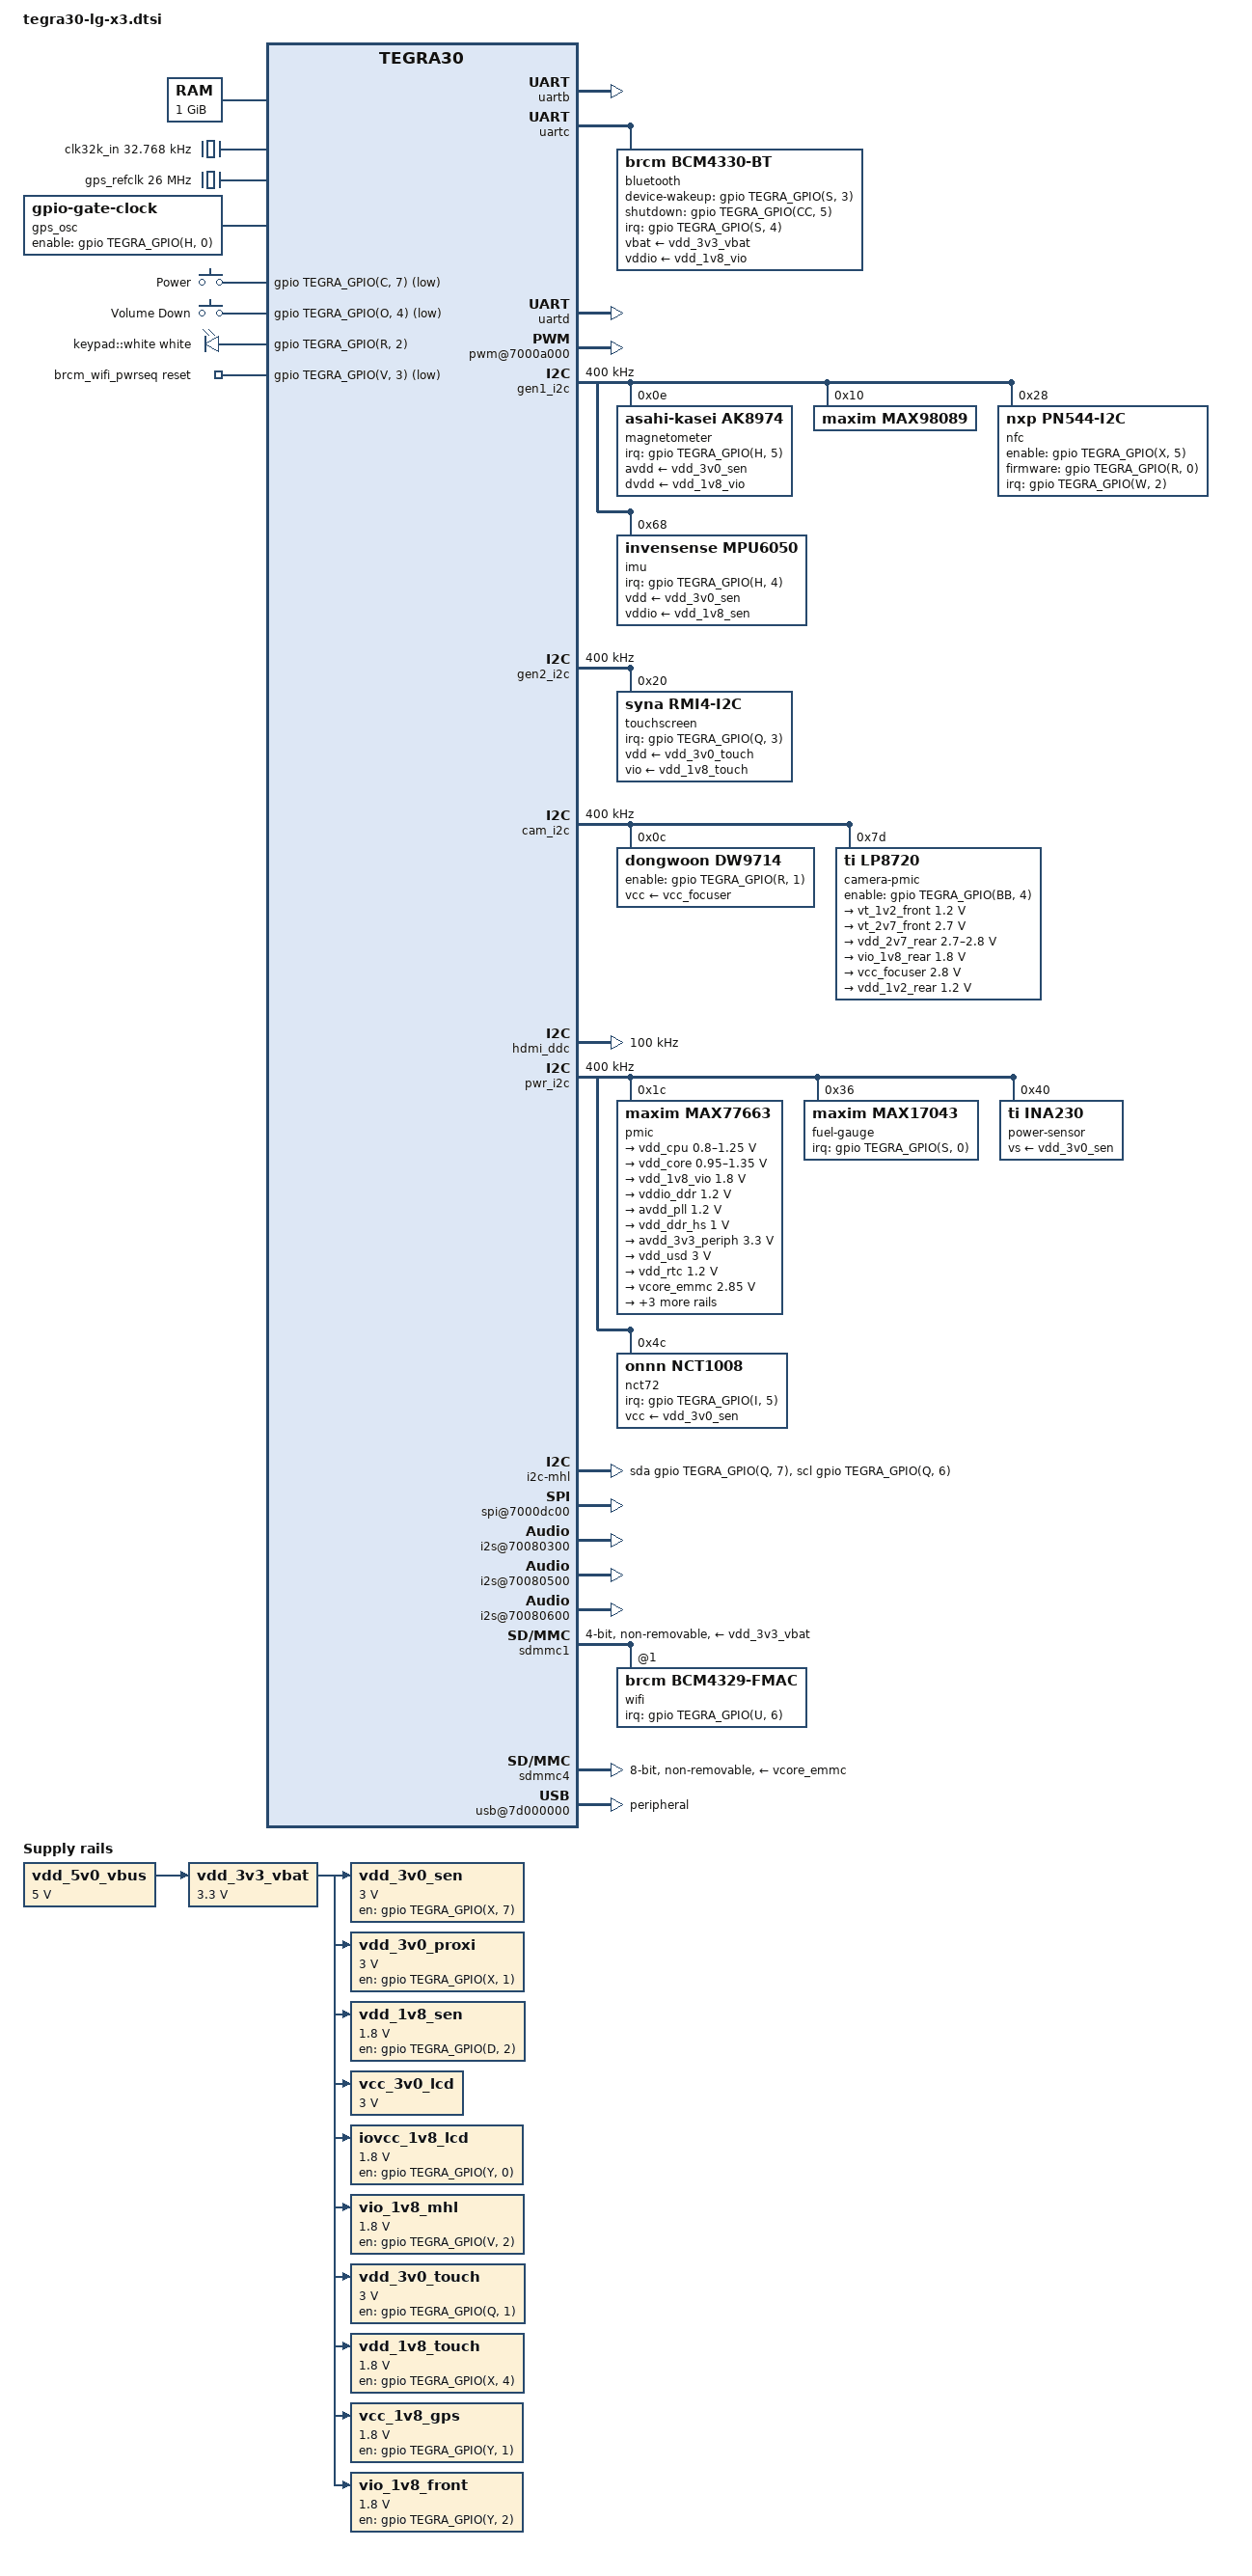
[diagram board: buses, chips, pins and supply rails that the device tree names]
// SPDX-License-Identifier: GPL-2.0

#include <dt-bindings/input/gpio-keys.h>
#include <dt-bindings/input/input.h>
#include <dt-bindings/leds/common.h>
#include <dt-bindings/mfd/max77620.h>
#include <dt-bindings/thermal/thermal.h>

#include "tegra30.dtsi"
#include "tegra30-cpu-opp.dtsi"
#include "tegra30-cpu-opp-microvolt.dtsi"

/ {
	chassis-type = "handset";

	aliases {
		mmc0 = &sdmmc4; /* eMMC */
		mmc1 = &sdmmc1; /* WiFi */

		rtc0 = &pmic;
		rtc1 = "/rtc@7000e000";

		serial0 = &uartd; /* Console */
		serial1 = &uartc; /* Bluetooth */
		serial2 = &uartb; /* GPS */
	};

	/*
	 * The decompressor and also some bootloaders rely on a
	 * pre-existing /chosen node to be available to insert the
	 * command line and merge other ATAGS info.
	 */
	chosen { };

	firmware {
		trusted-foundations {
			compatible = "tlm,trusted-foundations";
			tlm,version-major = <2>;
			tlm,version-minor = <8>;
		};
	};

	memory@80000000 {
		reg = <0x80000000 0x40000000>;
	};

	reserved-memory {
		#address-cells = <1>;
		#size-cells = <1>;
		ranges;

		linux,cma@80000000 {
			compatible = "shared-dma-pool";
			alloc-ranges = <0x80000000 0x30000000>;
			size = <0x10000000>;		/* 256MiB */
			linux,cma-default;
			reusable;
		};

		ramoops@bed00000 {
			compatible = "ramoops";
			reg = <0xbed00000 0x10000>;	/* 64kB */
			console-size = <0x8000>;	/* 32kB */
			record-size = <0x400>;		/* 1kB */
			ecc-size = <16>;
		};

		trustzone@bfe00000 {
			reg = <0xbfe00000 0x200000>;	/* 2MB */
			no-map;
		};
	};

	vde@6001a000 {
		assigned-clocks = <&tegra_car TEGRA30_CLK_VDE>;
		assigned-clock-parents = <&tegra_car TEGRA30_CLK_PLL_P>;
		assigned-clock-rates = <408000000>;
	};

	pinmux@70000868 {
		pinctrl-names = "default";
		pinctrl-0 = <&state_default>;

		state_default: pinmux {
			/* WLAN SDIO pinmux */
			sdmmc1-clk {
				nvidia,pins = "sdmmc1_clk_pz0";
				nvidia,function = "sdmmc1";
				nvidia,pull = <TEGRA_PIN_PULL_NONE>;
				nvidia,tristate = <TEGRA_PIN_DISABLE>;
				nvidia,enable-input = <TEGRA_PIN_ENABLE>;
			};
			sdmmc1-cmd {
				nvidia,pins = "sdmmc1_cmd_pz1",
						"sdmmc1_dat3_py4",
						"sdmmc1_dat2_py5",
						"sdmmc1_dat1_py6",
						"sdmmc1_dat0_py7";
				nvidia,function = "sdmmc1";
				nvidia,pull = <TEGRA_PIN_PULL_UP>;
				nvidia,tristate = <TEGRA_PIN_DISABLE>;
				nvidia,enable-input = <TEGRA_PIN_ENABLE>;
			};
			wlan-reset {
				nvidia,pins = "pv3";
				nvidia,function = "rsvd2";
				nvidia,pull = <TEGRA_PIN_PULL_NONE>;
				nvidia,tristate = <TEGRA_PIN_DISABLE>;
				nvidia,enable-input = <TEGRA_PIN_DISABLE>;
			};
			wlan-host-wake {
				nvidia,pins = "pu6";
				nvidia,function = "pwm3";
				nvidia,pull = <TEGRA_PIN_PULL_DOWN>;
				nvidia,tristate = <TEGRA_PIN_DISABLE>;
				nvidia,enable-input = <TEGRA_PIN_ENABLE>;
			};

			/* GNSS UART-B pinmux */
			gps-pwr-en {
				nvidia,pins = "kb_row6_pr6";
				nvidia,function = "kbc";
				nvidia,pull = <TEGRA_PIN_PULL_DOWN>;
				nvidia,tristate = <TEGRA_PIN_DISABLE>;
				nvidia,enable-input = <TEGRA_PIN_DISABLE>;
			};
			gps-ldo-en {
				nvidia,pins = "ulpi_dir_py1";
				nvidia,function = "rsvd2";
				nvidia,pull = <TEGRA_PIN_PULL_NONE>;
				nvidia,tristate = <TEGRA_PIN_DISABLE>;
				nvidia,enable-input = <TEGRA_PIN_DISABLE>;
			};
			gps-clk-ref {
				nvidia,pins = "gmi_ad8_ph0";
				nvidia,function = "gmi";
				nvidia,pull = <TEGRA_PIN_PULL_NONE>;
				nvidia,tristate = <TEGRA_PIN_DISABLE>;
				nvidia,enable-input = <TEGRA_PIN_DISABLE>;
			};

			/* Bluetooth UART-C pinmux */
			uartc-cts-rxd {
				nvidia,pins = "uart3_cts_n_pa1",
						"uart3_rxd_pw7";
				nvidia,function = "uartc";
				nvidia,pull = <TEGRA_PIN_PULL_NONE>;
				nvidia,tristate = <TEGRA_PIN_DISABLE>;
				nvidia,enable-input = <TEGRA_PIN_ENABLE>;
			};
			uartc-rts-txd {
				nvidia,pins = "uart3_rts_n_pc0",
						"uart3_txd_pw6";
				nvidia,function = "uartc";
				nvidia,pull = <TEGRA_PIN_PULL_NONE>;
				nvidia,tristate = <TEGRA_PIN_DISABLE>;
				nvidia,enable-input = <TEGRA_PIN_DISABLE>;
			};
			bt-reset {
				nvidia,pins = "clk2_req_pcc5";
				nvidia,function = "dap";
				nvidia,pull = <TEGRA_PIN_PULL_NONE>;
				nvidia,tristate = <TEGRA_PIN_DISABLE>;
				nvidia,enable-input = <TEGRA_PIN_DISABLE>;
			};
			bt-dev-wake {
				nvidia,pins = "kb_row11_ps3";
				nvidia,function = "kbc";
				nvidia,pull = <TEGRA_PIN_PULL_DOWN>;
				nvidia,tristate = <TEGRA_PIN_DISABLE>;
				nvidia,enable-input = <TEGRA_PIN_DISABLE>;
			};
			bt-host-wake {
				nvidia,pins = "kb_row12_ps4";
				nvidia,function = "kbc";
				nvidia,pull = <TEGRA_PIN_PULL_DOWN>;
				nvidia,tristate = <TEGRA_PIN_DISABLE>;
				nvidia,enable-input = <TEGRA_PIN_ENABLE>;
			};
			bt-pcm-dap4 {
				nvidia,pins = "dap4_fs_pp4",
						"dap4_din_pp5",
						"dap4_dout_pp6",
						"dap4_sclk_pp7";
				nvidia,function = "i2s3";
				nvidia,pull = <TEGRA_PIN_PULL_NONE>;
				nvidia,tristate = <TEGRA_PIN_DISABLE>;
				nvidia,enable-input = <TEGRA_PIN_ENABLE>;
			};

			/* EMMC pinmux */
			sdmmc4-clk {
				nvidia,pins = "sdmmc4_clk_pcc4";
				nvidia,function = "sdmmc4";
				nvidia,pull = <TEGRA_PIN_PULL_NONE>;
				nvidia,tristate = <TEGRA_PIN_DISABLE>;
				nvidia,enable-input = <TEGRA_PIN_ENABLE>;
			};
			sdmmc4-data {
				nvidia,pins = "sdmmc4_cmd_pt7",
						"sdmmc4_dat0_paa0",
						"sdmmc4_dat1_paa1",
						"sdmmc4_dat2_paa2",
						"sdmmc4_dat3_paa3",
						"sdmmc4_dat4_paa4",
						"sdmmc4_dat5_paa5",
						"sdmmc4_dat6_paa6",
						"sdmmc4_dat7_paa7";
				nvidia,function = "sdmmc4";
				nvidia,pull = <TEGRA_PIN_PULL_UP>;
				nvidia,tristate = <TEGRA_PIN_DISABLE>;
				nvidia,enable-input = <TEGRA_PIN_ENABLE>;
			};
			sdmmc4-reset {
				nvidia,pins = "sdmmc4_rst_n_pcc3";
				nvidia,function = "rsvd2";
				nvidia,pull = <TEGRA_PIN_PULL_DOWN>;
				nvidia,tristate = <TEGRA_PIN_DISABLE>;
				nvidia,enable-input = <TEGRA_PIN_ENABLE>;
			};

			/* I2C pinmux */
			gen1-i2c {
				nvidia,pins = "gen1_i2c_scl_pc4",
						"gen1_i2c_sda_pc5";
				nvidia,function = "i2c1";
				nvidia,pull = <TEGRA_PIN_PULL_NONE>;
				nvidia,tristate = <TEGRA_PIN_DISABLE>;
				nvidia,enable-input = <TEGRA_PIN_ENABLE>;
				nvidia,open-drain = <TEGRA_PIN_ENABLE>;
				nvidia,lock = <TEGRA_PIN_DISABLE>;
			};
			gen2-i2c {
				nvidia,pins = "gen2_i2c_scl_pt5",
						"gen2_i2c_sda_pt6";
				nvidia,function = "i2c2";
				nvidia,pull = <TEGRA_PIN_PULL_NONE>;
				nvidia,tristate = <TEGRA_PIN_DISABLE>;
				nvidia,enable-input = <TEGRA_PIN_ENABLE>;
				nvidia,open-drain = <TEGRA_PIN_ENABLE>;
				nvidia,lock = <TEGRA_PIN_DISABLE>;
			};
			cam-i2c {
				nvidia,pins = "cam_i2c_scl_pbb1",
						"cam_i2c_sda_pbb2";
				nvidia,function = "i2c3";
				nvidia,pull = <TEGRA_PIN_PULL_NONE>;
				nvidia,tristate = <TEGRA_PIN_DISABLE>;
				nvidia,enable-input = <TEGRA_PIN_ENABLE>;
				nvidia,open-drain = <TEGRA_PIN_ENABLE>;
				nvidia,lock = <TEGRA_PIN_DISABLE>;
			};
			ddc-i2c {
				nvidia,pins = "ddc_scl_pv4",
						"ddc_sda_pv5";
				nvidia,function = "i2c4";
				nvidia,pull = <TEGRA_PIN_PULL_NONE>;
				nvidia,tristate = <TEGRA_PIN_DISABLE>;
				nvidia,enable-input = <TEGRA_PIN_ENABLE>;
				nvidia,lock = <TEGRA_PIN_DISABLE>;
			};
			pwr-i2c {
				nvidia,pins = "pwr_i2c_scl_pz6",
						"pwr_i2c_sda_pz7";
				nvidia,function = "i2cpwr";
				nvidia,pull = <TEGRA_PIN_PULL_NONE>;
				nvidia,tristate = <TEGRA_PIN_DISABLE>;
				nvidia,enable-input = <TEGRA_PIN_ENABLE>;
				nvidia,open-drain = <TEGRA_PIN_ENABLE>;
				nvidia,lock = <TEGRA_PIN_DISABLE>;
			};
			mhl-i2c {
				nvidia,pins = "kb_col6_pq6",
						"kb_col7_pq7";
				nvidia,function = "kbc";
				nvidia,pull = <TEGRA_PIN_PULL_NONE>;
				nvidia,tristate = <TEGRA_PIN_DISABLE>;
				nvidia,enable-input = <TEGRA_PIN_ENABLE>;
			};

			/* GPIO keys pinmux */
			power-key {
				nvidia,pins = "gmi_wp_n_pc7";
				nvidia,function = "gmi";
				nvidia,pull = <TEGRA_PIN_PULL_UP>;
				nvidia,tristate = <TEGRA_PIN_DISABLE>;
				nvidia,enable-input = <TEGRA_PIN_ENABLE>;
			};
			volume-down {
				nvidia,pins = "ulpi_data3_po4";
				nvidia,function = "spi3";
				nvidia,pull = <TEGRA_PIN_PULL_UP>;
				nvidia,tristate = <TEGRA_PIN_DISABLE>;
				nvidia,enable-input = <TEGRA_PIN_ENABLE>;
			};

			/* Sensors pinmux */
			sen-vdd {
				nvidia,pins = "spi1_miso_px7";
				nvidia,function = "rsvd4";
				nvidia,pull = <TEGRA_PIN_PULL_NONE>;
				nvidia,tristate = <TEGRA_PIN_DISABLE>;
				nvidia,enable-input = <TEGRA_PIN_DISABLE>;
			};
			proxi-vdd {
				nvidia,pins = "spi2_miso_px1";
				nvidia,function = "gmi";
				nvidia,pull = <TEGRA_PIN_PULL_NONE>;
				nvidia,tristate = <TEGRA_PIN_DISABLE>;
				nvidia,enable-input = <TEGRA_PIN_DISABLE>;
			};
			sen-vio {
				nvidia,pins = "lcd_dc1_pd2";
				nvidia,function = "rsvd4";
				nvidia,pull = <TEGRA_PIN_PULL_NONE>;
				nvidia,tristate = <TEGRA_PIN_DISABLE>;
				nvidia,enable-input = <TEGRA_PIN_DISABLE>;
			};
			nct-irq {
				nvidia,pins = "gmi_iordy_pi5";
				nvidia,function = "rsvd1";
				nvidia,pull = <TEGRA_PIN_PULL_NONE>;
				nvidia,tristate = <TEGRA_PIN_DISABLE>;
				nvidia,enable-input = <TEGRA_PIN_ENABLE>;
			};
			bat-irq {
				nvidia,pins = "kb_row8_ps0";
				nvidia,function = "kbc";
				nvidia,pull = <TEGRA_PIN_PULL_UP>;
				nvidia,tristate = <TEGRA_PIN_DISABLE>;
				nvidia,enable-input = <TEGRA_PIN_ENABLE>;
			};
			charger-irq {
				nvidia,pins = "gmi_cs1_n_pj2";
				nvidia,function = "rsvd1";
				nvidia,pull = <TEGRA_PIN_PULL_UP>;
				nvidia,tristate = <TEGRA_PIN_DISABLE>;
				nvidia,enable-input = <TEGRA_PIN_ENABLE>;
			};
			mpu-irq {
				nvidia,pins = "gmi_ad12_ph4";
				nvidia,function = "rsvd1";
				nvidia,pull = <TEGRA_PIN_PULL_UP>;
				nvidia,tristate = <TEGRA_PIN_DISABLE>;
				nvidia,enable-input = <TEGRA_PIN_ENABLE>;
			};
			compass-irq {
				nvidia,pins = "gmi_ad13_ph5";
				nvidia,function = "rsvd1";
				nvidia,pull = <TEGRA_PIN_PULL_UP>;
				nvidia,tristate = <TEGRA_PIN_DISABLE>;
				nvidia,enable-input = <TEGRA_PIN_ENABLE>;
			};
			light-irq {
				nvidia,pins = "gmi_cs4_n_pk2";
				nvidia,function = "rsvd1";
				nvidia,pull = <TEGRA_PIN_PULL_UP>;
				nvidia,tristate = <TEGRA_PIN_DISABLE>;
				nvidia,enable-input = <TEGRA_PIN_ENABLE>;
			};

			/* LED pinmux */
			backlight-en {
				nvidia,pins = "lcd_dc0_pn6";
				nvidia,function = "rsvd3";
				nvidia,pull = <TEGRA_PIN_PULL_DOWN>;
				nvidia,tristate = <TEGRA_PIN_DISABLE>;
				nvidia,enable-input = <TEGRA_PIN_DISABLE>;
			};
			flash-led-en {
				nvidia,pins = "pbb3";
				nvidia,function = "vgp3";
				nvidia,pull = <TEGRA_PIN_PULL_NONE>;
				nvidia,tristate = <TEGRA_PIN_DISABLE>;
				nvidia,enable-input = <TEGRA_PIN_DISABLE>;
			};
			keypad-led {
				nvidia,pins = "kb_row2_pr2",
						"kb_row3_pr3";
				nvidia,function = "rsvd3";
				nvidia,pull = <TEGRA_PIN_PULL_DOWN>;
				nvidia,tristate = <TEGRA_PIN_DISABLE>;
				nvidia,enable-input = <TEGRA_PIN_DISABLE>;
			};

			/* NFC pinmux */
			nfc-irq {
				nvidia,pins = "spi2_cs1_n_pw2";
				nvidia,function = "spi2";
				nvidia,pull = <TEGRA_PIN_PULL_NONE>;
				nvidia,tristate = <TEGRA_PIN_DISABLE>;
				nvidia,enable-input = <TEGRA_PIN_ENABLE>;
			};
			nfc-ven {
				nvidia,pins = "spi1_sck_px5";
				nvidia,function = "spi1";
				nvidia,pull = <TEGRA_PIN_PULL_NONE>;
				nvidia,tristate = <TEGRA_PIN_DISABLE>;
				nvidia,enable-input = <TEGRA_PIN_DISABLE>;
			};
			nfc-firm {
				nvidia,pins = "kb_row0_pr0";
				nvidia,function = "rsvd4";
				nvidia,pull = <TEGRA_PIN_PULL_NONE>;
				nvidia,tristate = <TEGRA_PIN_DISABLE>;
				nvidia,enable-input = <TEGRA_PIN_DISABLE>;
			};

			/* DC pinmux */
			lcd-pwr {
				nvidia,pins = "lcd_pwr0_pb2",
						"lcd_pwr1_pc1";
				nvidia,function = "displaya";
				nvidia,pull = <TEGRA_PIN_PULL_NONE>;
				nvidia,tristate = <TEGRA_PIN_DISABLE>;
				nvidia,enable-input = <TEGRA_PIN_DISABLE>;
			};
			lcd-wr-n {
				nvidia,pins = "lcd_wr_n_pz3";
				nvidia,function = "displaya";
				nvidia,pull = <TEGRA_PIN_PULL_NONE>;
				nvidia,tristate = <TEGRA_PIN_DISABLE>;
				nvidia,enable-input = <TEGRA_PIN_ENABLE>;
			};
			lcd-id {
				nvidia,pins = "lcd_m1_pw1";
				nvidia,function = "displaya";
				nvidia,pull = <TEGRA_PIN_PULL_NONE>;
				nvidia,tristate = <TEGRA_PIN_ENABLE>;
				nvidia,enable-input = <TEGRA_PIN_DISABLE>;
			};
			lcd-pclk {
				nvidia,pins = "lcd_pclk_pb3",
						"lcd_de_pj1",
						"lcd_hsync_pj3",
						"lcd_vsync_pj4";
				nvidia,function = "displaya";
				nvidia,pull = <TEGRA_PIN_PULL_NONE>;
				nvidia,tristate = <TEGRA_PIN_DISABLE>;
				nvidia,enable-input = <TEGRA_PIN_ENABLE>;
			};
			lcd-rgb-blue {
				nvidia,pins = "lcd_d0_pe0",
						"lcd_d1_pe1",
						"lcd_d2_pe2",
						"lcd_d3_pe3",
						"lcd_d4_pe4",
						"lcd_d5_pe5",
						"lcd_d18_pm2",
						"lcd_d19_pm3";
				nvidia,function = "displaya";
				nvidia,pull = <TEGRA_PIN_PULL_NONE>;
				nvidia,tristate = <TEGRA_PIN_DISABLE>;
				nvidia,enable-input = <TEGRA_PIN_ENABLE>;
			};
			lcd-rgb-green {
				nvidia,pins = "lcd_d6_pe6",
						"lcd_d7_pe7",
						"lcd_d8_pf0",
						"lcd_d9_pf1",
						"lcd_d10_pf2",
						"lcd_d11_pf3",
						"lcd_d20_pm4",
						"lcd_d21_pm5";
				nvidia,function = "displaya";
				nvidia,pull = <TEGRA_PIN_PULL_NONE>;
				nvidia,tristate = <TEGRA_PIN_DISABLE>;
				nvidia,enable-input = <TEGRA_PIN_ENABLE>;
			};
			lcd-rgb-red {
				nvidia,pins = "lcd_d12_pf4",
						"lcd_d13_pf5",
						"lcd_d14_pf6",
						"lcd_d15_pf7",
						"lcd_d16_pm0",
						"lcd_d17_pm1",
						"lcd_d22_pm6",
						"lcd_d23_pm7";
				nvidia,function = "displaya";
				nvidia,pull = <TEGRA_PIN_PULL_NONE>;
				nvidia,tristate = <TEGRA_PIN_DISABLE>;
				nvidia,enable-input = <TEGRA_PIN_ENABLE>;
			};

			/* Bridge pinmux */
			bridge-reset {
				nvidia,pins = "ulpi_data1_po2";
				nvidia,function = "spi3";
				nvidia,pull = <TEGRA_PIN_PULL_UP>;
				nvidia,tristate = <TEGRA_PIN_DISABLE>;
				nvidia,enable-input = <TEGRA_PIN_DISABLE>;
			};
			rgb-ic-en {
				nvidia,pins = "gmi_a18_pb1";
				nvidia,function = "uartd";
				nvidia,pull = <TEGRA_PIN_PULL_DOWN>;
				nvidia,tristate = <TEGRA_PIN_DISABLE>;
				nvidia,enable-input = <TEGRA_PIN_DISABLE>;
			};
			bridge-clk {
				nvidia,pins = "clk3_out_pee0";
				nvidia,function = "extperiph3";
				nvidia,pull = <TEGRA_PIN_PULL_NONE>;
				nvidia,tristate = <TEGRA_PIN_DISABLE>;
				nvidia,enable-input = <TEGRA_PIN_ENABLE>;
			};
			rgb-bridge {
				nvidia,pins = "lcd_sdin_pz2",
						"lcd_sdout_pn5",
						"lcd_cs0_n_pn4",
						"lcd_sck_pz4";
				nvidia,function = "spi5";
				nvidia,pull = <TEGRA_PIN_PULL_NONE>;
				nvidia,tristate = <TEGRA_PIN_DISABLE>;
				nvidia,enable-input = <TEGRA_PIN_ENABLE>;
			};

			/* Panel pinmux */
			panel-reset {
				nvidia,pins = "lcd_cs1_n_pw0";
				nvidia,function = "rsvd4";
				nvidia,pull = <TEGRA_PIN_PULL_UP>;
				nvidia,tristate = <TEGRA_PIN_DISABLE>;
				nvidia,enable-input = <TEGRA_PIN_DISABLE>;
			};
			panel-vio {
				nvidia,pins = "ulpi_clk_py0";
				nvidia,function = "rsvd2";
				nvidia,pull = <TEGRA_PIN_PULL_DOWN>;
				nvidia,tristate = <TEGRA_PIN_DISABLE>;
				nvidia,enable-input = <TEGRA_PIN_DISABLE>;
			};

			/* Touchscreen pinmux */
			touch-vdd {
				nvidia,pins = "kb_col1_pq1";
				nvidia,function = "kbc";
				nvidia,pull = <TEGRA_PIN_PULL_NONE>;
				nvidia,tristate = <TEGRA_PIN_DISABLE>;
				nvidia,enable-input = <TEGRA_PIN_DISABLE>;
			};
			touch-vio {
				nvidia,pins = "spi1_mosi_px4";
				nvidia,function = "spi2";
				nvidia,pull = <TEGRA_PIN_PULL_NONE>;
				nvidia,tristate = <TEGRA_PIN_DISABLE>;
				nvidia,enable-input = <TEGRA_PIN_DISABLE>;
			};
			touch-irq-n {
				nvidia,pins = "kb_col3_pq3";
				nvidia,function = "kbc";
				nvidia,pull = <TEGRA_PIN_PULL_NONE>;
				nvidia,tristate = <TEGRA_PIN_DISABLE>;
				nvidia,enable-input = <TEGRA_PIN_ENABLE>;
			};
			touch-rst-n {
				nvidia,pins = "ulpi_data0_po1";
				nvidia,function = "spi3";
				nvidia,pull = <TEGRA_PIN_PULL_UP>;
				nvidia,tristate = <TEGRA_PIN_ENABLE>;
				nvidia,enable-input = <TEGRA_PIN_DISABLE>;
			};
			touch-maker-id {
				nvidia,pins = "kb_col2_pq2";
				nvidia,function = "kbc";
				nvidia,pull = <TEGRA_PIN_PULL_UP>;
				nvidia,tristate = <TEGRA_PIN_DISABLE>;
				nvidia,enable-input = <TEGRA_PIN_ENABLE>;
			};

			/* MHL pinmux */
			mhl-vio {
				nvidia,pins = "pv2";
				nvidia,function = "owr";
				nvidia,pull = <TEGRA_PIN_PULL_NONE>;
				nvidia,tristate = <TEGRA_PIN_DISABLE>;
				nvidia,enable-input = <TEGRA_PIN_DISABLE>;
			};
			mhl-rst-n {
				nvidia,pins = "clk3_req_pee1";
				nvidia,function = "dev3";
				nvidia,pull = <TEGRA_PIN_PULL_UP>;
				nvidia,tristate = <TEGRA_PIN_DISABLE>;
				nvidia,enable-input = <TEGRA_PIN_DISABLE>;
			};
			mhl-irq {
				nvidia,pins = "crt_vsync_pv7";
				nvidia,function = "rsvd2";
				nvidia,pull = <TEGRA_PIN_PULL_NONE>;
				nvidia,tristate = <TEGRA_PIN_DISABLE>;
				nvidia,enable-input = <TEGRA_PIN_ENABLE>;
			};
			mhl-sel {
				nvidia,pins = "kb_row10_ps2";
				nvidia,function = "kbc";
				nvidia,pull = <TEGRA_PIN_PULL_DOWN>;
				nvidia,tristate = <TEGRA_PIN_DISABLE>;
				nvidia,enable-input = <TEGRA_PIN_DISABLE>;
			};
			hdmi-hpd {
				nvidia,pins = "hdmi_int_pn7";
				nvidia,function = "hdmi";
				nvidia,pull = <TEGRA_PIN_PULL_NONE>;
				nvidia,tristate = <TEGRA_PIN_ENABLE>;
				nvidia,enable-input = <TEGRA_PIN_ENABLE>;
			};

			/* AUDIO pinmux */
			hp-detect {
				nvidia,pins = "pbb6";
				nvidia,function = "vgp6";
				nvidia,pull = <TEGRA_PIN_PULL_NONE>;
				nvidia,tristate = <TEGRA_PIN_DISABLE>;
				nvidia,enable-input = <TEGRA_PIN_ENABLE>;
			};
			hp-hook {
				nvidia,pins = "ulpi_data4_po5";
				nvidia,function = "ulpi";
				nvidia,pull = <TEGRA_PIN_PULL_DOWN>;
				nvidia,tristate = <TEGRA_PIN_DISABLE>;
				nvidia,enable-input = <TEGRA_PIN_ENABLE>;
			};
			ear-mic-en {
				nvidia,pins = "spi2_mosi_px0";
				nvidia,function = "spi2";
				nvidia,pull = <TEGRA_PIN_PULL_DOWN>;
				nvidia,tristate = <TEGRA_PIN_DISABLE>;
				nvidia,enable-input = <TEGRA_PIN_DISABLE>;
			};
			audio-irq {
				nvidia,pins = "spi2_cs2_n_pw3";
				nvidia,function = "spi3";
				nvidia,pull = <TEGRA_PIN_PULL_NONE>;
				nvidia,tristate = <TEGRA_PIN_DISABLE>;
				nvidia,enable-input = <TEGRA_PIN_ENABLE>;
			};
			audio-mclk {
				nvidia,pins = "clk1_out_pw4";
				nvidia,function = "extperiph1";
				nvidia,pull = <TEGRA_PIN_PULL_DOWN>;
				nvidia,tristate = <TEGRA_PIN_DISABLE>;
				nvidia,enable-input = <TEGRA_PIN_ENABLE>;
			};
			dap-i2s0 {
				nvidia,pins = "dap1_fs_pn0",
						"dap1_din_pn1",
						"dap1_dout_pn2",
						"dap1_sclk_pn3";
				nvidia,function = "i2s0";
				nvidia,pull = <TEGRA_PIN_PULL_NONE>;
				nvidia,tristate = <TEGRA_PIN_DISABLE>;
				nvidia,enable-input = <TEGRA_PIN_ENABLE>;
			};
			dap-i2s1 {
				nvidia,pins = "dap2_fs_pa2",
						"dap2_sclk_pa3",
						"dap2_din_pa4",
						"dap2_dout_pa5";
				nvidia,function = "i2s1";
				nvidia,pull = <TEGRA_PIN_PULL_NONE>;
				nvidia,tristate = <TEGRA_PIN_DISABLE>;
				nvidia,enable-input = <TEGRA_PIN_ENABLE>;
			};

			/* MUIC pinmux */
			muic-irq {
				nvidia,pins = "gmi_cs0_n_pj0";
				nvidia,function = "gmi";
				nvidia,pull = <TEGRA_PIN_PULL_UP>;
				nvidia,tristate = <TEGRA_PIN_DISABLE>;
				nvidia,enable-input = <TEGRA_PIN_ENABLE>;
			};
			muic-dp2t {
				nvidia,pins = "pcc2";
				nvidia,function = "rsvd2";
				nvidia,pull = <TEGRA_PIN_PULL_NONE>;
				nvidia,tristate = <TEGRA_PIN_DISABLE>;
				nvidia,enable-input = <TEGRA_PIN_DISABLE>;
			};
			muic-usif {
				nvidia,pins = "ulpi_stp_py3";
				nvidia,function = "spi1";
				nvidia,pull = <TEGRA_PIN_PULL_NONE>;
				nvidia,tristate = <TEGRA_PIN_DISABLE>;
				nvidia,enable-input = <TEGRA_PIN_DISABLE>;
			};
			ifx-usb-vbus-en {
				nvidia,pins = "kb_row4_pr4";
				nvidia,function = "rsvd4";
				nvidia,pull = <TEGRA_PIN_PULL_DOWN>;
				nvidia,tristate = <TEGRA_PIN_DISABLE>;
				nvidia,enable-input = <TEGRA_PIN_DISABLE>;
			};
			pcb-rev {
				nvidia,pins = "gmi_wait_pi7",
						"gmi_rst_n_pi4";
				nvidia,function = "gmi";
				nvidia,pull = <TEGRA_PIN_PULL_UP>;
				nvidia,tristate = <TEGRA_PIN_DISABLE>;
				nvidia,enable-input = <TEGRA_PIN_ENABLE>;
			};
			jtag-rtck {
				nvidia,pins = "jtag_rtck_pu7";
				nvidia,function = "rtck";
				nvidia,pull = <TEGRA_PIN_PULL_NONE>;
				nvidia,tristate = <TEGRA_PIN_DISABLE>;
				nvidia,enable-input = <TEGRA_PIN_DISABLE>;
			};

			/* Camera pinmux */
			cam-mclk {
				nvidia,pins = "cam_mclk_pcc0";
				nvidia,function = "vi_alt3";
				nvidia,pull = <TEGRA_PIN_PULL_UP>;
				nvidia,tristate = <TEGRA_PIN_DISABLE>;
				nvidia,enable-input = <TEGRA_PIN_ENABLE>;
			};
			cam-pmic-en {
				nvidia,pins = "pbb4";
				nvidia,function = "vgp4";
				nvidia,pull = <TEGRA_PIN_PULL_NONE>;
				nvidia,tristate = <TEGRA_PIN_DISABLE>;
				nvidia,enable-input = <TEGRA_PIN_DISABLE>;
			};
			front-cam-rst {
				nvidia,pins = "pbb5";
				nvidia,function = "vgp5";
				nvidia,pull = <TEGRA_PIN_PULL_NONE>;
				nvidia,tristate = <TEGRA_PIN_DISABLE>;
				nvidia,enable-input = <TEGRA_PIN_DISABLE>;
			};
			front-cam-vio {
				nvidia,pins = "ulpi_nxt_py2";
				nvidia,function = "rsvd2";
				nvidia,pull = <TEGRA_PIN_PULL_NONE>;
				nvidia,tristate = <TEGRA_PIN_DISABLE>;
				nvidia,enable-input = <TEGRA_PIN_DISABLE>;
			};
			rear-cam-rst {
				nvidia,pins = "gmi_cs3_n_pk4";
				nvidia,function = "rsvd1";
				nvidia,pull = <TEGRA_PIN_PULL_NONE>;
				nvidia,tristate = <TEGRA_PIN_DISABLE>;
				nvidia,enable-input = <TEGRA_PIN_DISABLE>;
			};
			rear-cam-eprom-pr {
				nvidia,pins = "gmi_cs2_n_pk3";
				nvidia,function = "rsvd1";
				nvidia,pull = <TEGRA_PIN_PULL_NONE>;
				nvidia,tristate = <TEGRA_PIN_DISABLE>;
				nvidia,enable-input = <TEGRA_PIN_DISABLE>;
			};
			rear-cam-vcm-pwdn {
				nvidia,pins = "kb_row1_pr1";
				nvidia,function = "kbc";
				nvidia,pull = <TEGRA_PIN_PULL_UP>;
				nvidia,tristate = <TEGRA_PIN_DISABLE>;
				nvidia,enable-input = <TEGRA_PIN_ENABLE>;
			};

			/* Haptic pinmux */
			haptic-en {
				nvidia,pins = "gmi_ad9_ph1";
				nvidia,function = "gmi";
				nvidia,pull = <TEGRA_PIN_PULL_DOWN>;
				nvidia,tristate = <TEGRA_PIN_DISABLE>;
				nvidia,enable-input = <TEGRA_PIN_DISABLE>;
			};
			haptic-osc {
				nvidia,pins = "gmi_ad11_ph3";
				nvidia,function = "pwm3";
				nvidia,pull = <TEGRA_PIN_PULL_NONE>;
				nvidia,tristate = <TEGRA_PIN_DISABLE>;
				nvidia,enable-input = <TEGRA_PIN_DISABLE>;
			};

			/* Modem pinmux */
			cp2ap-ack1-host-active {
				nvidia,pins = "pu5";
				nvidia,function = "rsvd4";
				nvidia,pull = <TEGRA_PIN_PULL_DOWN>;
				nvidia,tristate = <TEGRA_PIN_DISABLE>;
				nvidia,enable-input = <TEGRA_PIN_DISABLE>;
			};
			cp2ap-ack2-host-wakeup {
				nvidia,pins = "pv0";
				nvidia,function = "rsvd4";
				nvidia,pull = <TEGRA_PIN_PULL_UP>;
				nvidia,tristate = <TEGRA_PIN_DISABLE>;
				nvidia,enable-input = <TEGRA_PIN_ENABLE>;
			};
			ap2cp-ack2-suspend-req {
				nvidia,pins = "kb_row14_ps6";
				nvidia,function = "kbc";
				nvidia,pull = <TEGRA_PIN_PULL_NONE>;
				nvidia,tristate = <TEGRA_PIN_DISABLE>;
				nvidia,enable-input = <TEGRA_PIN_ENABLE>;
			};
			ap2cp-ack1-slave-wakeup {
				nvidia,pins = "kb_row15_ps7";
				nvidia,function = "kbc";
				nvidia,pull = <TEGRA_PIN_PULL_DOWN>;
				nvidia,tristate = <TEGRA_PIN_DISABLE>;
				nvidia,enable-input = <TEGRA_PIN_DISABLE>;
			};
			cp-kkp {
				nvidia,pins = "kb_col0_pq0";
				nvidia,function = "kbc";
				nvidia,pull = <TEGRA_PIN_PULL_UP>;
				nvidia,tristate = <TEGRA_PIN_DISABLE>;
				nvidia,enable-input = <TEGRA_PIN_ENABLE>;
			};
			cp-crash-irq {
				nvidia,pins = "kb_row13_ps5";
				nvidia,function = "kbc";
				nvidia,pull = <TEGRA_PIN_PULL_UP>;
				nvidia,tristate = <TEGRA_PIN_DISABLE>;
				nvidia,enable-input = <TEGRA_PIN_ENABLE>;
			};
			ap2cp-uarta-tx-ipc {
				nvidia,pins = "pu0";
				nvidia,function = "uarta";
				nvidia,pull = <TEGRA_PIN_PULL_NONE>;
				nvidia,tristate = <TEGRA_PIN_DISABLE>;
				nvidia,enable-input = <TEGRA_PIN_DISABLE>;
			};
			ap2cp-uarta-rx-ipc {
				nvidia,pins = "pu1";
				nvidia,function = "uarta";
				nvidia,pull = <TEGRA_PIN_PULL_NONE>;
				nvidia,tristate = <TEGRA_PIN_DISABLE>;
				nvidia,enable-input = <TEGRA_PIN_ENABLE>;
			};
			fota-ap-cts-cp-rts {
				nvidia,pins = "pu2";
				nvidia,function = "uarta";
				nvidia,pull = <TEGRA_PIN_PULL_NONE>;
				nvidia,tristate = <TEGRA_PIN_ENABLE>;
				nvidia,enable-input = <TEGRA_PIN_ENABLE>;
			};
			fota-ap-rts-cp-cts {
				nvidia,pins = "pu3";
				nvidia,function = "uarta";
				nvidia,pull = <TEGRA_PIN_PULL_NONE>;
				nvidia,tristate = <TEGRA_PIN_ENABLE>;
				nvidia,enable-input = <TEGRA_PIN_ENABLE>;
			};
			modem-enable {
				nvidia,pins = "ulpi_data7_po0";
				nvidia,function = "hsi";
				nvidia,pull = <TEGRA_PIN_PULL_NONE>;
				nvidia,tristate = <TEGRA_PIN_DISABLE>;
				nvidia,enable-input = <TEGRA_PIN_DISABLE>;
			};
			modem-reset {
				nvidia,pins = "pv1";
				nvidia,function = "rsvd1";
				nvidia,pull = <TEGRA_PIN_PULL_NONE>;
				nvidia,tristate = <TEGRA_PIN_DISABLE>;
				nvidia,enable-input = <TEGRA_PIN_DISABLE>;
			};
			dap-i2s2 {
				nvidia,pins = "dap3_fs_pp0",
						"dap3_din_pp1",
						"dap3_dout_pp2",
						"dap3_sclk_pp3";
				nvidia,function = "i2s2";
				nvidia,pull = <TEGRA_PIN_PULL_NONE>;
				nvidia,tristate = <TEGRA_PIN_DISABLE>;
				nvidia,enable-input = <TEGRA_PIN_ENABLE>;
			};

			/* GPIO power/drive control */
			drive-i2c {
				nvidia,pins = "drive_dbg",
						"drive_at5",
						"drive_gme",
						"drive_ddc",
						"drive_ao1";
				nvidia,high-speed-mode = <TEGRA_PIN_DISABLE>;
				nvidia,schmitt = <TEGRA_PIN_ENABLE>;
				nvidia,low-power-mode = <TEGRA_PIN_LP_DRIVE_DIV_1>;
				nvidia,pull-down-strength = <31>;
				nvidia,pull-up-strength = <31>;
				nvidia,slew-rate-rising = <TEGRA_PIN_SLEW_RATE_FASTEST>;
				nvidia,slew-rate-falling = <TEGRA_PIN_SLEW_RATE_FASTEST>;
			};

			drive-uart3 {
				nvidia,pins = "drive_uart3";
				nvidia,high-speed-mode = <TEGRA_PIN_DISABLE>;
				nvidia,schmitt = <TEGRA_PIN_ENABLE>;
				nvidia,low-power-mode = <TEGRA_PIN_LP_DRIVE_DIV_1>;
				nvidia,pull-down-strength = <31>;
				nvidia,pull-up-strength = <31>;
				nvidia,slew-rate-rising = <TEGRA_PIN_SLEW_RATE_FASTEST>;
				nvidia,slew-rate-falling = <TEGRA_PIN_SLEW_RATE_FASTEST>;
			};

			drive-gmi {
				nvidia,pins = "drive_at3";
				nvidia,high-speed-mode = <TEGRA_PIN_DISABLE>;
				nvidia,schmitt = <TEGRA_PIN_ENABLE>;
				nvidia,low-power-mode = <TEGRA_PIN_LP_DRIVE_DIV_1>;
				nvidia,pull-down-strength = <31>;
				nvidia,pull-up-strength = <31>;
				nvidia,slew-rate-rising = <TEGRA_PIN_SLEW_RATE_FASTEST>;
				nvidia,slew-rate-falling = <TEGRA_PIN_SLEW_RATE_FASTEST>;
			};
		};
	};

	uartb: serial@70006040 {
		compatible = "nvidia,tegra30-hsuart";
		reset-names = "serial";
		/delete-property/ reg-shift;
		status = "okay";

		/* GNSS GSD5T */
	};

	uartc: serial@70006200 {
		compatible = "nvidia,tegra30-hsuart";
		reset-names = "serial";
		/delete-property/ reg-shift;
		status = "okay";

		nvidia,adjust-baud-rates = <0 9600 100>,
					   <9600 115200 200>,
					   <1000000 4000000 136>;

		/* BCM4330B1 37.4 MHz Class 1.5 ExtLNA */
		bluetooth {
			compatible = "brcm,bcm4330-bt";
			max-speed = <4000000>;

			clocks = <&tegra_pmc TEGRA_PMC_CLK_BLINK>;
			clock-names = "txco";

			interrupt-parent = <&gpio>;
			interrupts = <TEGRA_GPIO(S, 4) IRQ_TYPE_EDGE_RISING>;
			interrupt-names = "host-wakeup";

			device-wakeup-gpios = <&gpio TEGRA_GPIO(S, 3) GPIO_ACTIVE_HIGH>;
			shutdown-gpios = <&gpio TEGRA_GPIO(CC, 5) GPIO_ACTIVE_HIGH>;

			vbat-supply = <&vdd_3v3_vbat>;
			vddio-supply = <&vdd_1v8_vio>;
		};
	};

	uartd: serial@70006300 {
		/delete-property/ dmas;
		/delete-property/ dma-names;
		status = "okay";

		/* Console */
	};

	pwm@7000a000 {
		status = "okay";
	};

	gen1_i2c: i2c@7000c000 {
		status = "okay";
		clock-frequency = <400000>;

		/* Aichi AMI306 digital compass */
		magnetometer@e {
			compatible = "asahi-kasei,ak8974";
			reg = <0x0e>;

			interrupt-parent = <&gpio>;
			interrupts = <TEGRA_GPIO(H, 5) IRQ_TYPE_EDGE_RISING>;

			avdd-supply = <&vdd_3v0_sen>;
			dvdd-supply = <&vdd_1v8_vio>;

			mount-matrix = "-1",  "0",  "0",
					"0",  "1",  "0",
					"0",  "0", "-1";
		};

		max98089: audio-codec@10 {
			compatible = "maxim,max98089";
			reg = <0x10>;

			clocks = <&tegra_pmc TEGRA_PMC_CLK_OUT_1>;
			clock-names = "mclk";

			assigned-clocks = <&tegra_pmc TEGRA_PMC_CLK_OUT_1>;
			assigned-clock-parents = <&tegra_car TEGRA30_CLK_EXTERN1>;
		};

		nfc@28 {
			compatible = "nxp,pn544-i2c";
			reg = <0x28>;

			interrupt-parent = <&gpio>;
			interrupts = <TEGRA_GPIO(W, 2) IRQ_TYPE_EDGE_RISING>;

			enable-gpios = <&gpio TEGRA_GPIO(X, 5) GPIO_ACTIVE_HIGH>;
			firmware-gpios = <&gpio TEGRA_GPIO(R, 0) GPIO_ACTIVE_HIGH>;
		};

		imu@68 {
			compatible = "invensense,mpu6050";
			reg = <0x68>;

			interrupt-parent = <&gpio>;
			interrupts = <TEGRA_GPIO(H, 4) IRQ_TYPE_EDGE_RISING>;

			vdd-supply = <&vdd_3v0_sen>;
			vddio-supply = <&vdd_1v8_sen>;

			mount-matrix =  "1",  "0",  "0",
					"0",  "1",  "0",
					"0",  "0", "-1";
		};
	};

	gen2_i2c: i2c@7000c400 {
		status = "okay";
		clock-frequency = <400000>;

		/* Synaptics RMI4 S3203B touchcreen */
		touchscreen@20 {
			compatible = "syna,rmi4-i2c";
			reg = <0x20>;

			interrupt-parent = <&gpio>;
			interrupts = <TEGRA_GPIO(Q, 3) IRQ_TYPE_EDGE_FALLING>;

			vdd-supply = <&vdd_3v0_touch>;
			vio-supply = <&vdd_1v8_touch>;

			syna,reset-delay-ms = <20>;
			syna,startup-delay-ms = <200>;

			#address-cells = <1>;
			#size-cells = <0>;

			rmi4-f01@1 {
				reg = <0x1>;
				syna,nosleep-mode = <1>;
			};

			rmi4-f11@11 {
				reg = <0x11>;
				syna,sensor-type = <1>;

				syna,clip-x-low = <0>;
				syna,clip-y-low = <0>;
			};
		};
	};

	cam_i2c: i2c@7000c500 {
		status = "okay";
		clock-frequency = <400000>;

		dw9714: coil@c {
			compatible = "dongwoon,dw9714";
			reg = <0x0c>;

			enable-gpios = <&gpio TEGRA_GPIO(R, 1) GPIO_ACTIVE_HIGH>;

			vcc-supply = <&vcc_focuser>;
		};

		camera-pmic@7d {
			compatible = "ti,lp8720";
			reg = <0x7d>;

			enable-gpios = <&gpio TEGRA_GPIO(BB, 4) GPIO_ACTIVE_HIGH>;

			vt_1v2_front: ldo1 {
				regulator-name = "vt_1v2_dig";
				regulator-min-microvolt = <1200000>;
				regulator-max-microvolt = <1200000>;
			};

			vt_2v7_front: ldo2 {
				regulator-name = "vt_2v7_vana";
				regulator-min-microvolt = <2700000>;
				regulator-max-microvolt = <2700000>;
			};

			vdd_2v7_rear: ldo3 {
				regulator-name = "8m_2v7_vana";
				regulator-min-microvolt = <2700000>;
				regulator-max-microvolt = <2800000>;
			};

			vio_1v8_rear: ldo4 {
				regulator-name = "vio_1v8_cam";
				regulator-min-microvolt = <1800000>;
				regulator-max-microvolt = <1800000>;
			};

			vcc_focuser: ldo5 {
				regulator-name = "8m_2v8_vcm";
				regulator-min-microvolt = <2800000>;
				regulator-max-microvolt = <2800000>;
			};

			vdd_1v2_rear: buck {
				regulator-name = "8m_1v2_cam";
				regulator-min-microvolt = <1200000>;
				regulator-max-microvolt = <1200000>;
			};
		};
	};

	hdmi_ddc: i2c@7000c700 {
		status = "okay";
		clock-frequency = <100000>;
	};

	pwr_i2c: i2c@7000d000 {
		status = "okay";
		clock-frequency = <400000>;

		pmic: max77663@1c {
			compatible = "maxim,max77663";
			reg = <0x1c>;

			interrupts = <GIC_SPI 86 IRQ_TYPE_LEVEL_HIGH>;
			#interrupt-cells = <2>;
			interrupt-controller;

			#gpio-cells = <2>;
			gpio-controller;

			system-power-controller;

			pinctrl-names = "default";
			pinctrl-0 = <&max77663_default>;

			max77663_default: pinmux {
				gpio1 {
					pins = "gpio1";
					function = "gpio";
					drive-open-drain = <1>;
				};

				gpio4 {
					pins = "gpio4";
					function = "32k-out1";
				};
			};

			fps {
				fps0 {
					maxim,fps-event-source = <MAX77620_FPS_EVENT_SRC_EN0>;
				};

				fps1 {
					maxim,fps-event-source = <MAX77620_FPS_EVENT_SRC_EN1>;
				};

				fps2 {
					maxim,fps-event-source = <MAX77620_FPS_EVENT_SRC_EN0>;
				};
			};

			regulators {
				in-sd0-supply = <&vdd_5v0_vbus>;
				in-sd1-supply = <&vdd_5v0_vbus>;
				in-sd2-supply = <&vdd_5v0_vbus>;
				in-sd3-supply = <&vdd_5v0_vbus>;

				in-ldo0-1-supply = <&vdd_1v8_vio>;
				in-ldo2-supply   = <&vdd_3v3_vbat>;
				in-ldo3-5-supply = <&vdd_3v3_vbat>;
				in-ldo4-6-supply = <&vdd_3v3_vbat>;
				in-ldo7-8-supply = <&vdd_1v8_vio>;

				vdd_cpu: sd0 {
					regulator-name = "vdd_cpu";
					regulator-min-microvolt = <800000>;
					regulator-max-microvolt = <1250000>;
					regulator-coupled-with = <&vdd_core>;
					regulator-coupled-max-spread = <300000>;
					regulator-max-step-microvolt = <100000>;
					regulator-always-on;
					regulator-boot-on;

					nvidia,tegra-cpu-regulator;
					maxim,active-fps-source = <MAX77620_FPS_SRC_NONE>;
				};

				vdd_core: sd1 {
					regulator-name = "vdd_core";
					regulator-min-microvolt = <950000>;
					regulator-max-microvolt = <1350000>;
					regulator-coupled-with = <&vdd_cpu>;
					regulator-coupled-max-spread = <300000>;
					regulator-max-step-microvolt = <100000>;
					regulator-always-on;
					regulator-boot-on;

					nvidia,tegra-core-regulator;
					maxim,active-fps-source = <MAX77620_FPS_SRC_1>;
				};

				vdd_1v8_vio: sd2 {
					regulator-name = "vdd_1v8_gen";
					regulator-min-microvolt = <1800000>;
					regulator-max-microvolt = <1800000>;
					regulator-always-on;
					regulator-boot-on;

					maxim,active-fps-source = <MAX77620_FPS_SRC_NONE>;
				};

				sd3 {
					regulator-name = "vddio_ddr";
					regulator-min-microvolt = <1200000>;
					regulator-max-microvolt = <1200000>;
					regulator-always-on;
					regulator-boot-on;

					maxim,active-fps-source = <MAX77620_FPS_SRC_NONE>;
				};

				ldo0 {
					regulator-name = "avdd_pll";
					regulator-min-microvolt = <1200000>;
					regulator-max-microvolt = <1200000>;
					regulator-always-on;
					regulator-boot-on;

					maxim,active-fps-source = <MAX77620_FPS_SRC_1>;
				};

				ldo1 {
					regulator-name = "vdd_ddr_hs";
					regulator-min-microvolt = <1000000>;
					regulator-max-microvolt = <1000000>;
					regulator-always-on;
					regulator-boot-on;

					maxim,active-fps-source = <MAX77620_FPS_SRC_NONE>;
				};

				avdd_3v3_periph: ldo2 {
					regulator-name = "avdd_usb";
					regulator-min-microvolt = <3300000>;
					regulator-max-microvolt = <3300000>;

					maxim,active-fps-source = <MAX77620_FPS_SRC_NONE>;
				};

				vdd_usd: ldo3 {
					regulator-name = "vdd_sdmmc3";
					regulator-min-microvolt = <3000000>;
					regulator-max-microvolt = <3000000>;
					regulator-always-on;

					maxim,active-fps-source = <MAX77620_FPS_SRC_NONE>;
				};

				ldo4 {
					regulator-name = "vdd_rtc";
					regulator-min-microvolt = <1200000>;
					regulator-max-microvolt = <1200000>;
					regulator-always-on;
					regulator-boot-on;

					maxim,active-fps-source = <MAX77620_FPS_SRC_0>;
				};

				vcore_emmc: ldo5 {
					regulator-name = "vdd_ddr_rx";
					regulator-min-microvolt = <2850000>;
					regulator-max-microvolt = <2850000>;
					regulator-always-on;
					regulator-boot-on;

					maxim,active-fps-source = <MAX77620_FPS_SRC_0>;
				};

				avdd_1v8_hdmi_pll: ldo6 {
					regulator-name = "avdd_osc";
					regulator-min-microvolt = <1800000>;
					regulator-max-microvolt = <1800000>;
					regulator-always-on;
					regulator-boot-on;

					maxim,active-fps-source = <MAX77620_FPS_SRC_NONE>;
				};

				vdd_1v2_mhl: ldo7 {
					regulator-name = "vdd_1v2_mhl";
					regulator-min-microvolt = <1050000>;
					regulator-max-microvolt = <1250000>;

					maxim,active-fps-source = <MAX77620_FPS_SRC_NONE>;
				};

				ldo8 {
					regulator-name = "avdd_dsi_csi";
					regulator-min-microvolt = <1200000>;
					regulator-max-microvolt = <1200000>;

					maxim,active-fps-source = <MAX77620_FPS_SRC_NONE>;
				};
			};
		};

		fuel-gauge@36 {
			compatible = "maxim,max17043";
			reg = <0x36>;

			interrupt-parent = <&gpio>;
			interrupts = <TEGRA_GPIO(S, 0) IRQ_TYPE_EDGE_FALLING>;

			monitored-battery = <&battery>;

			maxim,alert-low-soc-level = <10>;
			wakeup-source;
		};

		power-sensor@40 {
			compatible = "ti,ina230";
			reg = <0x40>;

			vs-supply = <&vdd_3v0_sen>;
		};

		nct72: temperature-sensor@4c {
			compatible = "onnn,nct1008";
			reg = <0x4c>;

			interrupt-parent = <&gpio>;
			interrupts = <TEGRA_GPIO(I, 5) IRQ_TYPE_EDGE_FALLING>;

			vcc-supply = <&vdd_3v0_sen>;
			#thermal-sensor-cells = <1>;
		};
	};

	i2c-mhl {
		compatible = "i2c-gpio";

		sda-gpios = <&gpio TEGRA_GPIO(Q, 7) (GPIO_ACTIVE_HIGH | GPIO_OPEN_DRAIN)>;
		scl-gpios = <&gpio TEGRA_GPIO(Q, 6) (GPIO_ACTIVE_HIGH | GPIO_OPEN_DRAIN)>;

		i2c-gpio,delay-us = <5>;

		#address-cells = <1>;
		#size-cells = <0>;
	};

	spi@7000dc00 {
		status = "okay";
		spi-max-frequency = <25000000>;

		/* DSI bridge */
	};

	pmc@7000e400 {
		status = "okay";
		nvidia,invert-interrupt;
		nvidia,suspend-mode = <2>;
		nvidia,cpu-pwr-good-time = <2000>;
		nvidia,cpu-pwr-off-time = <200>;
		nvidia,core-pwr-good-time = <3845 3845>;
		nvidia,core-pwr-off-time = <0>;
		nvidia,core-power-req-active-high;
		nvidia,sys-clock-req-active-high;
		core-supply = <&vdd_core>;

		i2c-thermtrip {
			nvidia,i2c-controller-id = <4>;
			nvidia,bus-addr = <0x1c>;
			nvidia,reg-addr = <0x41>;
			nvidia,reg-data = <0x02>;
		};
	};

	hda@70030000 {
		status = "okay";
	};

	ahub@70080000 {
		/* HIFI CODEC */
		i2s@70080300 {		/* i2s0 */
			status = "okay";
		};

		/* BASEBAND */
		i2s@70080500 {		/* i2s2 */
			status = "okay";
		};

		/* BT SCO */
		i2s@70080600 {		/* i2s3 */
			status = "okay";
		};
	};

	sdmmc1: mmc@78000000 {
		status = "okay";

		#address-cells = <1>;
		#size-cells = <0>;

		assigned-clocks = <&tegra_car TEGRA30_CLK_SDMMC1>;
		assigned-clock-parents = <&tegra_car TEGRA30_CLK_PLL_C>;
		assigned-clock-rates = <50000000>;

		max-frequency = <50000000>;
		keep-power-in-suspend;
		bus-width = <4>;
		non-removable;

		mmc-pwrseq = <&brcm_wifi_pwrseq>;
		vmmc-supply = <&vdd_3v3_vbat>;
		vqmmc-supply = <&vdd_1v8_vio>;

		/* BCM4330B1 37.4 MHz Class 1.5 ExtLNA */
		wifi@1 {
			compatible = "brcm,bcm4329-fmac";
			reg = <1>;

			interrupt-parent = <&gpio>;
			interrupts = <TEGRA_GPIO(U, 6) IRQ_TYPE_LEVEL_HIGH>;
			interrupt-names = "host-wake";
		};
	};

	sdmmc4: mmc@78000600 {
		status = "okay";
		bus-width = <8>;

		non-removable;
		mmc-ddr-1_8v;

		vmmc-supply = <&vcore_emmc>;
		vqmmc-supply = <&vdd_1v8_vio>;
	};

	/* Micro USB */
	usb@7d000000 {
		compatible = "nvidia,tegra30-udc";
		status = "okay";
		dr_mode = "peripheral";
	};

	usb-phy@7d000000 {
		status = "okay";
		dr_mode = "peripheral";
		nvidia,hssync-start-delay = <0>;
		nvidia,xcvr-lsfslew = <2>;
		nvidia,xcvr-lsrslew = <2>;
		vbus-supply = <&avdd_3v3_periph>;
	};

	/* PMIC has a built-in 32KHz oscillator which is used by PMC */
	clk32k_in: clock-32k {
		compatible = "fixed-clock";
		#clock-cells = <0>;
		clock-frequency = <32768>;
		clock-output-names = "pmic-oscillator";
	};

	gps_refclk: clock-gps {
		compatible = "fixed-clock";
		clock-frequency = <26000000>;
		clock-accuracy = <100>;
		#clock-cells = <0>;
	};

	gps_osc: clock-gps-osc-gate {
		compatible = "gpio-gate-clock";
		enable-gpios = <&gpio TEGRA_GPIO(H, 0) GPIO_ACTIVE_HIGH>;
		clocks = <&gps_refclk>;
		#clock-cells = <0>;
	};

	cpus {
		cpu0: cpu@0 {
			cpu-supply = <&vdd_cpu>;
			operating-points-v2 = <&cpu0_opp_table>;
			#cooling-cells = <2>;
		};
		cpu1: cpu@1 {
			cpu-supply = <&vdd_cpu>;
			operating-points-v2 = <&cpu0_opp_table>;
			#cooling-cells = <2>;
		};
		cpu2: cpu@2 {
			cpu-supply = <&vdd_cpu>;
			operating-points-v2 = <&cpu0_opp_table>;
			#cooling-cells = <2>;
		};
		cpu3: cpu@3 {
			cpu-supply = <&vdd_cpu>;
			operating-points-v2 = <&cpu0_opp_table>;
			#cooling-cells = <2>;
		};
	};

	gpio-keys {
		compatible = "gpio-keys";

		key-power {
			label = "Power";
			gpios = <&gpio TEGRA_GPIO(C, 7) GPIO_ACTIVE_LOW>;
			linux,code = <KEY_POWER>;
			debounce-interval = <10>;
			wakeup-event-action = <EV_ACT_ASSERTED>;
			wakeup-source;
		};

		key-volume-down {
			label = "Volume Down";
			gpios = <&gpio TEGRA_GPIO(O, 4) GPIO_ACTIVE_LOW>;
			linux,code = <KEY_VOLUMEDOWN>;
			debounce-interval = <10>;
			wakeup-event-action = <EV_ACT_ASSERTED>;
			wakeup-source;
		};
	};

	gpio-leds {
		compatible = "gpio-leds";

		led-keypad {
			label = "keypad::white";
			gpios = <&gpio TEGRA_GPIO(R, 2) GPIO_ACTIVE_HIGH>;

			color = <LED_COLOR_ID_WHITE>;
			function = LED_FUNCTION_KBD_BACKLIGHT;
		};
	};

	opp-table-actmon {
		/delete-node/ opp-625000000;
		/delete-node/ opp-667000000;
		/delete-node/ opp-750000000;
		/delete-node/ opp-800000000;
		/delete-node/ opp-900000000;
	};

	opp-table-emc {
		/delete-node/ opp-625000000-1200;
		/delete-node/ opp-625000000-1250;
		/delete-node/ opp-667000000-1200;
		/delete-node/ opp-750000000-1300;
		/delete-node/ opp-800000000-1300;
		/delete-node/ opp-900000000-1350;
	};

	brcm_wifi_pwrseq: pwrseq-wifi {
		compatible = "mmc-pwrseq-simple";

		clocks = <&tegra_pmc TEGRA_PMC_CLK_BLINK>;
		clock-names = "ext_clock";

		reset-gpios = <&gpio TEGRA_GPIO(V, 3) GPIO_ACTIVE_LOW>;
		post-power-on-delay-ms = <300>;
		power-off-delay-us = <300>;
	};

	vdd_5v0_vbus: regulator-vbus {
		compatible = "regulator-fixed";
		regulator-name = "vdd_vbus";
		regulator-min-microvolt = <5000000>;
		regulator-max-microvolt = <5000000>;
		regulator-always-on;
		regulator-boot-on;
	};

	vdd_3v3_vbat: regulator-vbat {
		compatible = "regulator-fixed";
		regulator-name = "vdd_vbat";
		regulator-min-microvolt = <3300000>;
		regulator-max-microvolt = <3300000>;
		regulator-always-on;
		regulator-boot-on;
		vin-supply = <&vdd_5v0_vbus>;
	};

	vdd_3v0_sen: regulator-sen3v {
		compatible = "regulator-fixed";
		regulator-name = "vdd_3v0_sensor";
		regulator-min-microvolt = <3000000>;
		regulator-max-microvolt = <3000000>;
		regulator-boot-on;
		gpio = <&gpio TEGRA_GPIO(X, 7) GPIO_ACTIVE_HIGH>;
		enable-active-high;
		vin-supply = <&vdd_3v3_vbat>;
	};

	vdd_3v0_proxi: regulator-proxi {
		compatible = "regulator-fixed";
		regulator-name = "vdd_3v0_proxi";
		regulator-min-microvolt = <3000000>;
		regulator-max-microvolt = <3000000>;
		regulator-boot-on;
		gpio = <&gpio TEGRA_GPIO(X, 1) GPIO_ACTIVE_HIGH>;
		enable-active-high;
		vin-supply = <&vdd_3v3_vbat>;
	};

	vdd_1v8_sen: regulator-sen1v8 {
		compatible = "regulator-fixed";
		regulator-name = "vdd_1v8_sensor";
		regulator-min-microvolt = <1800000>;
		regulator-max-microvolt = <1800000>;
		regulator-boot-on;
		gpio = <&gpio TEGRA_GPIO(D, 2) GPIO_ACTIVE_HIGH>;
		enable-active-high;
		vin-supply = <&vdd_3v3_vbat>;
	};

	vcc_3v0_lcd: regulator-lcd3v {
		compatible = "regulator-fixed";
		regulator-name = "vcc_3v0_lcd";
		regulator-min-microvolt = <3000000>;
		regulator-max-microvolt = <3000000>;
		regulator-boot-on;
		vin-supply = <&vdd_3v3_vbat>;
	};

	iovcc_1v8_lcd: regulator-lcd1v8 {
		compatible = "regulator-fixed";
		regulator-name = "iovcc_1v8_lcd";
		regulator-min-microvolt = <1800000>;
		regulator-max-microvolt = <1800000>;
		regulator-boot-on;
		gpio = <&gpio TEGRA_GPIO(Y, 0) GPIO_ACTIVE_HIGH>;
		enable-active-high;
		vin-supply = <&vdd_3v3_vbat>;
	};

	vio_1v8_mhl: regulator-mhl1v8 {
		compatible = "regulator-fixed";
		regulator-name = "vio_1v8_mhl";
		regulator-min-microvolt = <1800000>;
		regulator-max-microvolt = <1800000>;
		regulator-boot-on;
		gpio = <&gpio TEGRA_GPIO(V, 2) GPIO_ACTIVE_HIGH>;
		enable-active-high;
		vin-supply = <&vdd_3v3_vbat>;
	};

	vdd_3v0_touch: regulator-touchpwr {
		compatible = "regulator-fixed";
		regulator-name = "vdd_3v0_touch";
		regulator-min-microvolt = <3000000>;
		regulator-max-microvolt = <3000000>;
		regulator-boot-on;
		gpio = <&gpio TEGRA_GPIO(Q, 1) GPIO_ACTIVE_HIGH>;
		enable-active-high;
		vin-supply = <&vdd_3v3_vbat>;
	};

	vdd_1v8_touch: regulator-touchvio {
		compatible = "regulator-fixed";
		regulator-name = "vdd_1v8_touch";
		regulator-min-microvolt = <1800000>;
		regulator-max-microvolt = <1800000>;
		regulator-boot-on;
		gpio = <&gpio TEGRA_GPIO(X, 4) GPIO_ACTIVE_HIGH>;
		enable-active-high;
		vin-supply = <&vdd_3v3_vbat>;
	};

	vcc_1v8_gps: regulator-gps {
		compatible = "regulator-fixed";
		regulator-name = "vcc_1v8_gps";
		regulator-min-microvolt = <1800000>;
		regulator-max-microvolt = <1800000>;
		regulator-boot-on;
		gpio = <&gpio TEGRA_GPIO(Y, 1) GPIO_ACTIVE_HIGH>;
		enable-active-high;
		vin-supply = <&vdd_3v3_vbat>;
	};

	vio_1v8_front: regulator-frontvio {
		compatible = "regulator-fixed";
		regulator-name = "vt_1v8_cam_vio";
		regulator-min-microvolt = <1800000>;
		regulator-max-microvolt = <1800000>;
		gpio = <&gpio TEGRA_GPIO(Y, 2) GPIO_ACTIVE_HIGH>;
		enable-active-high;
		vin-supply = <&vdd_3v3_vbat>;
	};

	sound {
		nvidia,audio-routing =
			"Headphone Jack", "HPL",
			"Headphone Jack", "HPR",
			"Int Spk", "SPKL",
			"Int Spk", "SPKR",
			"Earpiece", "RECL",
			"Earpiece", "RECR",
			"INA1", "Mic Jack",
			"MIC1", "MICBIAS",
			"MICBIAS", "Internal Mic 1",
			"MIC2", "Internal Mic 2";

		nvidia,i2s-controller = <&tegra_i2s0>;
		nvidia,audio-codec = <&max98089>;

		nvidia,hp-det-gpios = <&gpio TEGRA_GPIO(BB, 6) GPIO_ACTIVE_LOW>;
		nvidia,mic-det-gpios = <&gpio TEGRA_GPIO(O, 5) GPIO_ACTIVE_HIGH>;
		nvidia,ext-mic-en-gpios = <&gpio TEGRA_GPIO(X, 0) GPIO_ACTIVE_HIGH>;
		nvidia,coupled-mic-hp-det;

		clocks = <&tegra_car TEGRA30_CLK_PLL_A>,
			 <&tegra_car TEGRA30_CLK_PLL_A_OUT0>,
			 <&tegra_pmc TEGRA_PMC_CLK_OUT_1>;
		clock-names = "pll_a", "pll_a_out0", "mclk";

		assigned-clocks = <&tegra_car TEGRA30_CLK_EXTERN1>,
				  <&tegra_pmc TEGRA_PMC_CLK_OUT_1>;

		assigned-clock-parents = <&tegra_car TEGRA30_CLK_PLL_A_OUT0>,
					 <&tegra_car TEGRA30_CLK_EXTERN1>;
	};

	thermal-zones {
		/*
		 * NCT72 has two sensors:
		 *
		 *	0: internal that monitors ambient/skin temperature
		 *	1: external that is connected to the CPU's diode
		 *
		 * Ideally we should use userspace thermal governor,
		 * but it's a much more complex solution. The "skin"
		 * zone exists as a simpler solution which prevents
		 * this device from getting too hot from a user's
		 * tactile perspective. The CPU zone is intended to
		 * protect silicon from damage.
		 */

		skin-thermal {
			polling-delay-passive = <1000>; /* milliseconds */
			polling-delay = <5000>; /* milliseconds */

			thermal-sensors = <&nct72 0>;

			trips {
				trip0: skin-alert {
					/* throttle at 50C until temperature drops to 49.8C */
					temperature = <50000>;
					hysteresis = <200>;
					type = "passive";
				};

				trip1: skin-crit {
					/* shut down at 60C */
					temperature = <60000>;
					hysteresis = <2000>;
					type = "critical";
				};
			};

			cooling-maps {
				map0 {
					trip = <&trip0>;
					cooling-device = <&cpu0 THERMAL_NO_LIMIT THERMAL_NO_LIMIT>,
							 <&cpu1 THERMAL_NO_LIMIT THERMAL_NO_LIMIT>,
							 <&cpu2 THERMAL_NO_LIMIT THERMAL_NO_LIMIT>,
							 <&cpu3 THERMAL_NO_LIMIT THERMAL_NO_LIMIT>,
							 <&actmon THERMAL_NO_LIMIT
								  THERMAL_NO_LIMIT>;
				};
			};
		};

		cpu-thermal {
			polling-delay-passive = <1000>; /* milliseconds */
			polling-delay = <5000>; /* milliseconds */

			thermal-sensors = <&nct72 1>;

			trips {
				trip2: cpu-alert {
					/* throttle at 75C until temperature drops to 74.8C */
					temperature = <75000>;
					hysteresis = <200>;
					type = "passive";
				};

				trip3: cpu-crit {
					/* shut down at 90C */
					temperature = <90000>;
					hysteresis = <2000>;
					type = "critical";
				};
			};

			cooling-maps {
				map1 {
					trip = <&trip2>;
					cooling-device = <&cpu0 THERMAL_NO_LIMIT THERMAL_NO_LIMIT>,
							 <&cpu1 THERMAL_NO_LIMIT THERMAL_NO_LIMIT>,
							 <&cpu2 THERMAL_NO_LIMIT THERMAL_NO_LIMIT>,
							 <&cpu3 THERMAL_NO_LIMIT THERMAL_NO_LIMIT>,
							 <&actmon THERMAL_NO_LIMIT
								  THERMAL_NO_LIMIT>;
				};
			};
		};
	};
};
